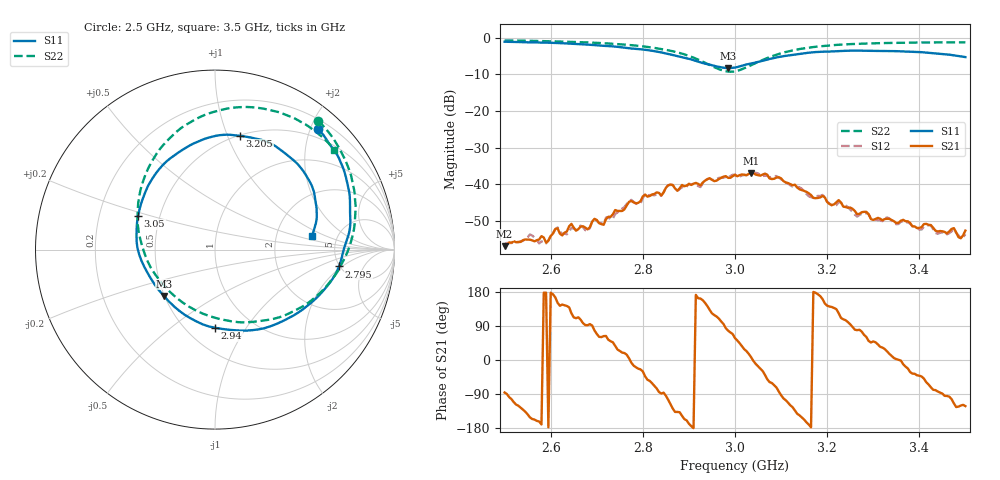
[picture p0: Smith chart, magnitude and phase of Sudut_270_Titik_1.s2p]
# Hz S RI R 50
! CMT, C1220, 16058040, 17.2.0/1
! Date: 15/08/2018 09:49:57
! Data: Format (Calibration Info)
! Freq  S11: Re/Im (F2)  S21: Re/Im (F2)  S12: Re/Im (F2)  S22: Re/Im (F2)
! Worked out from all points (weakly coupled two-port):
!   201 points, 2.5 GHz to 3.5 GHz, reference 50 ohm
!   highest |S21| = -37.05 dB at 3.035 GHz (marker M1); lowest = -57.0 dB at 2.5 GHz (marker M2)
!   lowest |S11| = -8.3 dB at 2.985 GHz (marker M3), VSWR 2.25, Z = 24.8 - j15.1 ohm
!   |S11| at or under -10 dB: nowhere
!   |S22| runs from -9.3 to -0.7 dB; largest |S21 - S12| = 0.0012
!   S11 on the Smith chart (normalised r, x): 2.5 GHz: 0.35, +2.13; 2.795 GHz: 4.92, -1.80; 2.94 GHz: 0.68, -0.73; 3.05 GHz: 0.38, +0.18; 3.205 GHz: 0.51, +1.11; 3.5 GHz: 3.24, +0.68
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2.5e9  0.5765 0.6697  0.000104 -0.00141  0.000103 -0.0015  0.5751 0.7179
2.555e9  0.6414 0.5824  -0.00153 -0.000832  -0.00172 -0.00111  0.6366 0.6497
2.59e9  0.6864 0.5175  -0.00158 6.64e-05  -0.00154 -2e-05  0.6734 0.5966
2.615e9  0.7084 0.4676  -0.00217 0.00121  -0.00225 0.00122  0.6978 0.5537
2.625e9  0.7179 0.443  -0.00165 0.0011  -0.00163 0.00132  0.7073 0.5356
2.67e9  0.7467 0.3269  -0.000345 0.00263  -0.000218 0.00256  0.7479 0.4439
2.715e9  0.753 0.192  0.00126 0.00248  0.00129 0.00257  0.7752 0.3331
2.77e9  0.7191 0.00665  0.00569 0.000454  0.00587 0.000363  0.7806 0.1668
2.795e9  0.6908 -0.0939  0.0053 -0.00246  0.00491 -0.00233  0.7669 0.0788
2.835e9  0.5934 -0.2401  0.000739 -0.00754  0.000912 -0.00723  0.7067 -0.0777
2.94e9  0.00133 -0.4355  -0.00922 0.00714  -0.00939 0.00699  0.1732 -0.4056
2.985e9  -0.2846 -0.2587  0.00264 0.0119  0.00212 0.0121  -0.1817 -0.2938
3e9  -0.3574 -0.1611  0.00717 0.0113  0.00785 0.0109  -0.2808 -0.2042
3.035e9  -0.4375 0.0822  0.0139 0.00179  0.0137 0.00219  -0.4169 0.0603
3.05e9  -0.4287 0.1876  0.0127 -0.0038  0.0133 -0.00456  -0.4315 0.1809
3.17e9  0.00725 0.6346  -0.00647 4.65e-05  -0.00647 -0.000488  -0.0713 0.7442
3.205e9  0.14 0.6333  -0.00416 0.00335  -0.00401 0.00367  0.0596 0.784
3.335e9  0.477 0.4566  0.00321 0.000936  0.0033 0.000774  0.4178 0.742
3.44e9  0.5664 0.2239  0.000267 -0.00223  0.000308 -0.00207  0.5943 0.6302
3.475e9  0.5591 0.1366  -0.00103 -0.00227  -0.00092 -0.00226  0.637 0.5891
3.49e9  0.5481 0.0981  -0.000914 -0.00157  -0.00101 -0.00151  0.6539 0.5702
3.5e9  0.5398 0.0741  -0.00121 -0.00197  -0.00123 -0.00166  0.6652 0.5575
